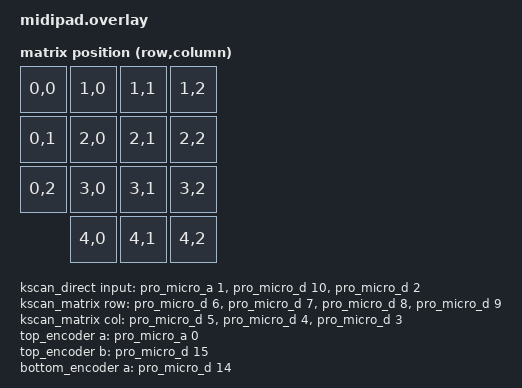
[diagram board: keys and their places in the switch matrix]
/*
 * Copyright (C) 2020 Joel Spadin
 *
 * SPDX-License-Identifier: MIT
 */

#include <dt-bindings/zmk/matrix-transform.h>

/ {
    chosen {
        zmk,kscan = &kscan0;
        zmk,matrix_transform = &default_transform;
    };

    kscan0: kscan_0 {
        compatible = "zmk,kscan-composite";
        label = "KSCAN_COMP";
        rows = <5>;
        columns = <3>;

        direct: direct {
            kscan = <&kscan_direct>;
        };

        matrix: matrix {
            kscan = <&kscan_matrix>;
            row-offset = <1>;
        };
    };

    kscan_direct: kscan_1 {
        compatible = "zmk,kscan-gpio-direct";
        label = "KSCAN_DIRECT";

        input-gpios
            = <&pro_micro_a 1 (GPIO_ACTIVE_LOW | GPIO_PULL_UP)>
            , <&pro_micro_d 10 (GPIO_ACTIVE_LOW | GPIO_PULL_UP)>
            , <&pro_micro_d 2 (GPIO_ACTIVE_LOW | GPIO_PULL_UP)>
            ;
    };


    kscan_matrix: kscan_2 {
        compatible = "zmk,kscan-gpio-matrix";
        label = "KSCAN_MATRIX";

        diode-direction = "col2row";
        row-gpios
            = <&pro_micro_d 6 (GPIO_ACTIVE_HIGH | GPIO_PULL_DOWN)>
            , <&pro_micro_d 7 (GPIO_ACTIVE_HIGH | GPIO_PULL_DOWN)>
            , <&pro_micro_d 8 (GPIO_ACTIVE_HIGH | GPIO_PULL_DOWN)>
            , <&pro_micro_d 9 (GPIO_ACTIVE_HIGH | GPIO_PULL_DOWN)>
            ;

        col-gpios
            = <&pro_micro_d 5 GPIO_ACTIVE_HIGH>
            , <&pro_micro_d 4 GPIO_ACTIVE_HIGH>
            , <&pro_micro_d 3 GPIO_ACTIVE_HIGH>
            ;
    };

    default_transform: keymap_transform_0 {
        compatible = "zmk,matrix-transform";
        rows = <5>;
        columns = <3>;
        map = <
            RC(0, 0) RC(1, 0) RC(1, 1) RC(1, 2)
            RC(0, 1) RC(2, 0) RC(2, 1) RC(2, 2)
            RC(0, 2) RC(3, 0) RC(3, 1) RC(3, 2)
                     RC(4, 0) RC(4, 1) RC(4, 2)
            >;
    };

    top_encoder: encoder_1 {
        compatible = "alps,ec11";
        label = "TOP_ENCODER";
        a-gpios = <&pro_micro_a 0 (GPIO_ACTIVE_HIGH | GPIO_PULL_UP)>;
        b-gpios = <&pro_micro_d 15 (GPIO_ACTIVE_HIGH | GPIO_PULL_UP)>;
        resolution = <2>;
        status = "okay";
    };

    bottom_encoder: encoder_2 {
        compatible = "alps,ec11";
        label = "BOTTOM_ENCODER";
        a-gpios = <&pro_micro_d 14 (GPIO_ACTIVE_HIGH | GPIO_PULL_UP)>;
        b-gpios = <&pro_micro_d 16 (GPIO_ACTIVE_HIGH | GPIO_PULL_UP)>;
        resolution = <2>;
        status = "okay";
    };

    sensors {
        compatible = "zmk,keymap-sensors";
        sensors = <&top_encoder &bottom_encoder>;
    };
};
